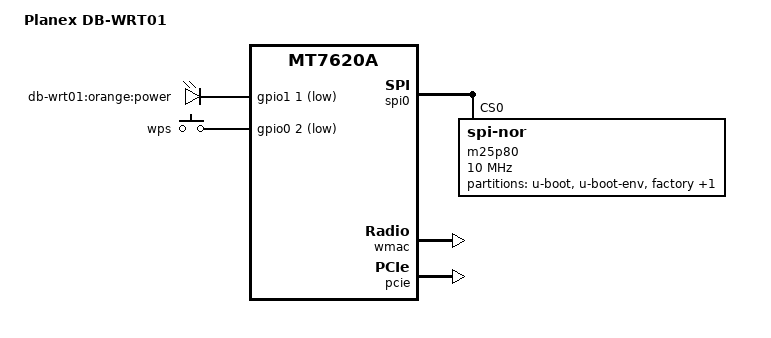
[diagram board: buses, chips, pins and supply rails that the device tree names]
/dts-v1/;

#include "mt7620a.dtsi"

/ {
	compatible = "ralink,mt7620a-soc";
	model = "Planex DB-WRT01";

	gpio-leds {
		compatible = "gpio-leds";

		power {
			label = "db-wrt01:orange:power";
			gpios = <&gpio1 1 1>;
		};
	};

	gpio-keys-polled {
		compatible = "gpio-keys-polled";
		#address-cells = <1>;
		#size-cells = <0>;
		poll-interval = <20>;

		s1 {
			label = "wps";
			gpios = <&gpio0 2 1>;
			linux,code = <0x211>;
		};
	};
};

&gpio1 {
	status = "okay";
};

&spi0 {
	status = "okay";

	m25p80@0 {
		#address-cells = <1>;
		#size-cells = <1>;
		compatible = "jedec,spi-nor";
		reg = <0>;
		linux,modalias = "m25p80", "mx25l6405d";
		spi-max-frequency = <10000000>;

		partition@0 {
			label = "u-boot";
			reg = <0x0 0x30000>;
			read-only;
		};

		partition@30000 {
			label = "u-boot-env";
			reg = <0x30000 0x10000>;
			read-only;
		};

		factory: partition@40000 {
			label = "factory";
			reg = <0x40000 0x10000>;
			read-only;
		};

		partition@50000 {
			label = "firmware";
			reg = <0x50000 0x7b0000>;
		};
	};
};

&pinctrl {
	state_default: pinctrl0 {
		gpio {
			ralink,group = "i2c", "spi refclk", "rgmii1";
			ralink,function = "gpio";
		};
	};
};

&ethernet {
	pinctrl-names = "default";
	pinctrl-0 = <&ephy_pins>;
	mtd-mac-address = <&factory 0x4>;
	mediatek,portmap = "llllw";
};

&gsw {
	mediatek,port4 = "ephy";
};

&wmac {
	ralink,mtd-eeprom = <&factory 0>;
};

&pcie {
	status = "okay";
};
